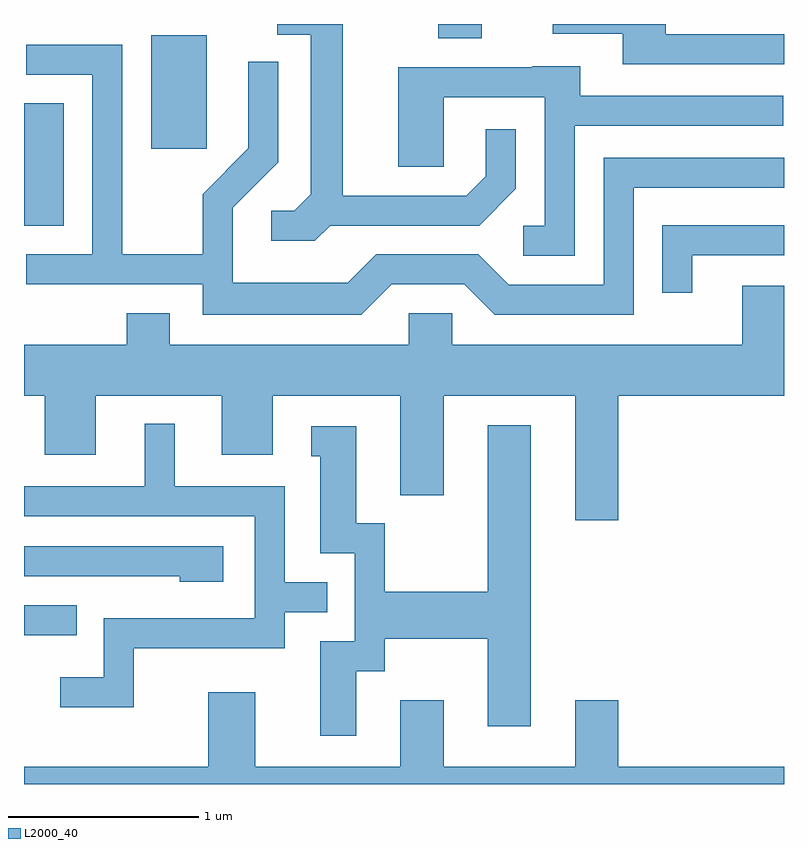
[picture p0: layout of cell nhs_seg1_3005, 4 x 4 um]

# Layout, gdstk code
import gdstk
lib = gdstk.Library(unit=1e-6, precision=1e-09)
def R(c, l, rs):  # rectangles x0, y0, x1, y1
    for r in rs: c.add(gdstk.rectangle(r[:2], r[2:], *l))
def P(c, l, *ps):  # polygons
    for p in ps: c.add(gdstk.Polygon(p, *l))
L2000_40 = (2000, 40)

nhs_seg1_3005 = lib.new_cell('nhs_seg1_3005')
R(nhs_seg1_3005, L2000_40, [(275.611,940.496,275.888,940.654), (275.611,942.651,275.819,943.294), (276.281,943.056,276.574,943.654), (277.791,943.636,278.019,943.712)])
P(nhs_seg1_3005, L2000_40, [(279.611,943.659),(278.989,943.659),(278.989,943.712),(278.393,943.712),(278.393,943.661),(278.761,943.661),(278.761,943.501),(279.611,943.501)],
  [(277.222,942.651),(278.007,942.651),(278.199,942.844),(278.199,943.158),(278.041,943.158),(278.041,942.912),(277.939,942.809),(277.289,942.809),(277.289,943.712),(276.943,943.712),(276.943,943.656),(277.121,943.656),(277.121,942.817),(277.034,942.729),(276.913,942.729),(276.913,942.571),(277.142,942.571)],
  [(277.547,942.341),(277.929,942.341),(278.089,942.181),(278.819,942.181),(278.819,942.851),(279.611,942.851),(279.611,943.009),(278.661,943.009),(278.661,942.339),(278.162,942.339),(278.002,942.499),(277.464,942.499),(277.314,942.349),(276.709,942.349),(276.709,942.744),(276.949,942.984),(276.949,943.513),(276.791,943.513),(276.791,943.057),(276.551,942.817),(276.551,942.499),(276.129,942.499),(276.129,943.604),(275.623,943.604),(275.623,943.446),(275.971,943.446),(275.971,942.499),(275.623,942.499),(275.623,942.341),(276.551,942.341),(276.551,942.181),(277.387,942.181)],
  [(278.509,943.176),(279.608,943.176),(279.608,943.334),(278.539,943.334),(278.539,943.489),(278.285,943.489),(278.285,943.484),(277.581,943.484),(277.581,942.961),(277.819,942.961),(277.819,943.326),(278.351,943.326),(278.351,942.649),(278.238,942.649),(278.238,942.491),(278.509,942.491)],
  [(279.129,942.496),(279.611,942.496),(279.611,942.654),(278.971,942.654),(278.971,942.298),(279.129,942.298)],
  [(278.739,941.756),(279.611,941.756),(279.611,942.334),(279.391,942.334),(279.391,942.024),(277.864,942.024),(277.864,942.189),(277.636,942.189),(277.636,942.024),(276.379,942.024),(276.379,942.189),(276.151,942.189),(276.151,942.024),(275.611,942.024),(275.611,941.756),(275.721,941.756),(275.721,941.446),(275.989,941.446),(275.989,941.756),(276.651,941.756),(276.651,941.446),(276.919,941.446),(276.919,941.756),(277.591,941.756),(277.591,941.231),(277.819,941.231),(277.819,941.756),(278.511,941.756),(278.511,941.101),(278.739,941.101)],
  [(276.189,940.426),(276.984,940.426),(276.984,940.616),(277.208,940.616),(277.208,940.774),(276.984,940.774),(276.984,941.279),(276.404,941.279),(276.404,941.608),(276.246,941.608),(276.246,941.279),(275.611,941.279),(275.611,941.121),(276.826,941.121),(276.826,940.584),(276.031,940.584),(276.031,940.274),(275.803,940.274),(275.803,940.116),(276.189,940.116)],
  [(277.359,940.306),(277.509,940.306),(277.509,940.476),(278.051,940.476),(278.051,940.016),(278.279,940.016),(278.279,941.599),(278.051,941.599),(278.051,940.724),(277.509,940.724),(277.509,941.084),(277.359,941.084),(277.359,941.594),(277.123,941.594),(277.123,941.436),(277.171,941.436),(277.171,940.926),(277.351,940.926),(277.351,940.464),(277.171,940.464),(277.171,939.966),(277.359,939.966)],
  [(276.659,940.964),(275.611,940.964),(275.611,940.806),(276.431,940.806),(276.431,940.776),(276.659,940.776)],
  [(278.511,940.154),(278.511,939.804),(277.819,939.804),(277.819,940.154),(277.591,940.154),(277.591,939.804),(276.829,939.804),(276.829,940.194),(276.581,940.194),(276.581,939.804),(275.611,939.804),(275.611,939.712),(279.611,939.712),(279.611,939.804),(278.739,939.804),(278.739,940.154)])

lib.write_gds('nhs_seg1_3005.gds')
